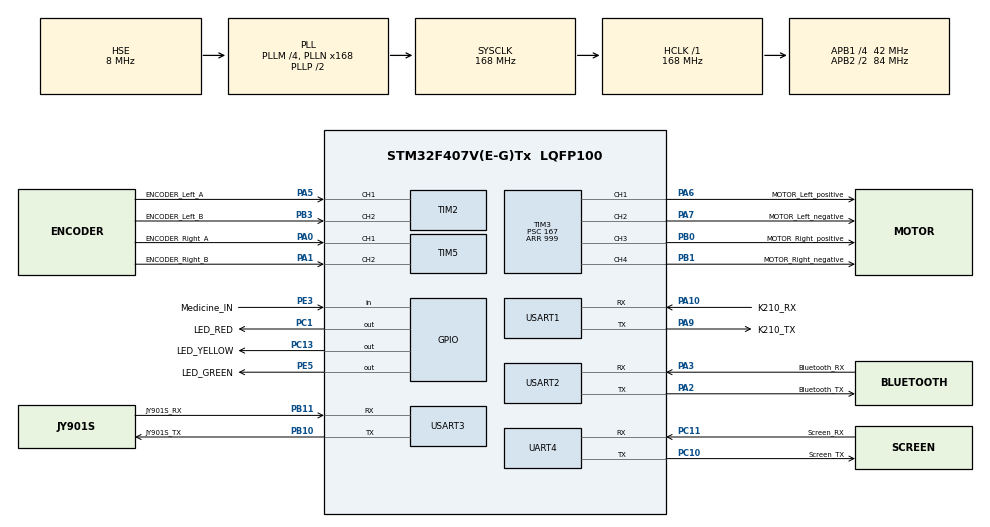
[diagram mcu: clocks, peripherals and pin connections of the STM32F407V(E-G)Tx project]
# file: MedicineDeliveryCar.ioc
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FREERTOS.Tasks01=defaultTask,0,128,StartDefaultTask,Default,NULL,Dynamic,NULL,NULL;SpeedCtrlTask,0,128,Task_SpeedCtrl,Default,NULL,Dynamic,NULL,NULL;CarGoalCtrlTask,-1,256,Task_CarGoalCtrl,Default,NULL,Dynamic,NULL,NULL
FREERTOS.configTICK_RATE_HZ=1000
Mcu.Family=STM32F4
Mcu.Name=STM32F407V(E-G)Tx
Mcu.Package=LQFP100
NVIC.PriorityGroup=NVIC_PRIORITYGROUP_4
NVIC.TIM1_UP_TIM10_IRQn=true\:15\:0\:false\:false\:true\:false\:false\:true\:true
NVIC.TIM2_IRQn=true\:5\:0\:false\:false\:true\:false\:true\:true\:true
NVIC.TIM3_IRQn=true\:5\:0\:false\:false\:true\:true\:true\:true\:true
NVIC.TIM5_IRQn=true\:5\:0\:false\:false\:true\:true\:true\:true\:true
NVIC.TimeBase=TIM1_UP_TIM10_IRQn
NVIC.TimeBaseIP=TIM1
NVIC.UART4_IRQn=true\:5\:0\:false\:false\:true\:true\:true\:true\:true
NVIC.USART1_IRQn=true\:5\:0\:false\:false\:true\:true\:true\:true\:true
NVIC.USART2_IRQn=true\:5\:0\:false\:false\:true\:true\:true\:true\:true
NVIC.USART3_IRQn=true\:5\:0\:false\:false\:true\:true\:true\:true\:true
PA0-WKUP.GPIO_Label=ENCODER_Right_A
PA0-WKUP.Signal=S_TIM5_CH1
PA1.GPIO_Label=ENCODER_Right_B
PA1.Signal=S_TIM5_CH2
PA10.GPIO_Label=K210_RX
PA10.Mode=Asynchronous
PA10.Signal=USART1_RX
PA13.Mode=Serial_Wire
PA13.Signal=SYS_JTMS-SWDIO
PA14.Mode=Serial_Wire
PA14.Signal=SYS_JTCK-SWCLK
PA2.GPIO_Label=Bluetooth_TX
PA2.Mode=Asynchronous
PA2.Signal=USART2_TX
PA3.GPIO_Label=Bluetooth_RX
PA3.Mode=Asynchronous
PA3.Signal=USART2_RX
PA5.GPIO_Label=ENCODER_Left_A
PA5.Signal=S_TIM2_CH1_ETR
PA6.GPIO_Label=MOTOR_Left_positive
PA6.Signal=S_TIM3_CH1
PA7.GPIO_Label=MOTOR_Left_negative
PA7.Signal=S_TIM3_CH2
PA9.GPIO_Label=K210_TX
PA9.Mode=Asynchronous
PA9.Signal=USART1_TX
PB0.GPIO_Label=MOTOR_Right_positive
PB0.Signal=S_TIM3_CH3
PB1.GPIO_Label=MOTOR_Right_negative
PB1.Signal=S_TIM3_CH4
PB10.GPIO_Label=JY901S_TX
PB10.Mode=Asynchronous
PB10.Signal=USART3_TX
PB11.GPIO_Label=JY901S_RX
PB11.Mode=Asynchronous
PB11.Signal=USART3_RX
PB3.GPIO_Label=ENCODER_Left_B
PB3.Signal=S_TIM2_CH2
PC1.GPIO_Label=LED_RED
PC1.Signal=GPIO_Output
PC10.GPIO_Label=Screen_TX
PC10.Mode=Asynchronous
PC10.Signal=UART4_TX
PC11.GPIO_Label=Screen_RX
PC11.Mode=Asynchronous
PC11.Signal=UART4_RX
PC13-ANTI_TAMP.GPIO_Label=LED_YELLOW
PC13-ANTI_TAMP.Signal=GPIO_Output
PE3.GPIO_Label=Medicine_IN
PE3.GPIO_PuPd=GPIO_PULLUP
PE3.Signal=GPIO_Input
PE5.GPIO_Label=LED_GREEN
PE5.Signal=GPIO_Output
PH0-OSC_IN.Mode=HSE-External-Oscillator
PH0-OSC_IN.Signal=RCC_OSC_IN
PH1-OSC_OUT.Mode=HSE-External-Oscillator
PH1-OSC_OUT.Signal=RCC_OSC_OUT
ProjectManager.HeapSize=0x200
ProjectManager.StackSize=0x400
ProjectManager.TargetToolchain=MDK-ARM V5.32
RCC.48MHZClocksFreq_Value=84000000
RCC.AHBFreq_Value=168000000
RCC.APB1CLKDivider=RCC_HCLK_DIV4
RCC.APB1Freq_Value=42000000
RCC.APB1TimFreq_Value=84000000
RCC.APB2CLKDivider=RCC_HCLK_DIV2
RCC.APB2Freq_Value=84000000
RCC.APB2TimFreq_Value=168000000
RCC.CortexFreq_Value=168000000
RCC.HCLKFreq_Value=168000000
RCC.HSE_VALUE=8000000
RCC.HSI_VALUE=16000000
RCC.LSE_VALUE=32768
RCC.PLLM=4
RCC.PLLN=168
RCC.PLLSourceVirtual=RCC_PLLSOURCE_HSE
RCC.SYSCLKFreq_VALUE=168000000
RCC.SYSCLKSource=RCC_SYSCLKSOURCE_PLLCLK
RCC.VCOOutputFreq_Value=336000000
SH.S_TIM2_CH1_ETR.0=TIM2_CH1,Encoder_Interface
SH.S_TIM2_CH2.0=TIM2_CH2,Encoder_Interface
SH.S_TIM3_CH1.0=TIM3_CH1,PWM Generation1 CH1
SH.S_TIM3_CH2.0=TIM3_CH2,PWM Generation2 CH2
SH.S_TIM3_CH3.0=TIM3_CH3,PWM Generation3 CH3
SH.S_TIM3_CH4.0=TIM3_CH4,PWM Generation4 CH4
SH.S_TIM5_CH1.0=TIM5_CH1,Encoder_Interface
SH.S_TIM5_CH2.0=TIM5_CH2,Encoder_Interface
TIM2.EncoderMode=TIM_ENCODERMODE_TI12
TIM3.AutoReloadPreload=TIM_AUTORELOAD_PRELOAD_ENABLE
TIM3.Channel-PWM\ Generation1\ CH1=TIM_CHANNEL_1
TIM3.Channel-PWM\ Generation2\ CH2=TIM_CHANNEL_2
TIM3.Channel-PWM\ Generation3\ CH3=TIM_CHANNEL_3
TIM3.Channel-PWM\ Generation4\ CH4=TIM_CHANNEL_4
TIM3.Period=999
TIM3.Prescaler=167
TIM3.Pulse-PWM\ Generation1\ CH1=500
TIM3.Pulse-PWM\ Generation3\ CH3=500
TIM5.EncoderMode=TIM_ENCODERMODE_TI12
UART4.VirtualMode=Asynchronous
USART1.VirtualMode=VM_ASYNC
USART2.VirtualMode=VM_ASYNC
USART3.VirtualMode=VM_ASYNC
VP_FREERTOS_VS_CMSIS_V1.Mode=CMSIS_V1
VP_SYS_VS_tim1.Mode=TIM1
VP_TIM3_VS_ClockSourceINT.Mode=Internal
board=custom

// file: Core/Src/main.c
/* USER CODE BEGIN Header */
/**
  ******************************************************************************
  * @file           : main.c
  * @brief          : Main program body
  ******************************************************************************
  * @attention
  *
  * Copyright (c) 2023 STMicroelectronics.
  * All rights reserved.
  *
  * This software is licensed under terms that can be found in the LICENSE file
  * in the root directory of this software component.
  * If no LICENSE file comes with this software, it is provided AS-IS.
  *
  ******************************************************************************
  */
/* USER CODE END Header */
#include "main.h"
#include "cmsis_os.h"
#include "tim.h"
#include "usart.h"
#include "gpio.h"

/* USER CODE BEGIN Includes */
//todo
#include "encoder.h"
#include "control.h"

//todo
/* USER CODE END Includes */

/* USER CODE BEGIN PD */
//todo
PID l_pid={1.0,0.1,0.0,0.0,0.0,0.0,60.0,0.0};
PID r_pid={1.0,0.1,0.0,0.0,0.0,0.0,60.0,0.0};
PID pid_line={1.0,0.1,0.0,0.0,0.0,0.0,60.0,0.0};
PID pid_distance_l={1.0,0.1,0.0,0.0,0.0,0.0,60.0,0.0};
PID pid_distance_r={1.0,0.1,0.0,0.0,0.0,0.0,60.0,0.0};

float speed_target = 0;  //28.0->0.1m/s
float speed_line_offset = 0;
int16_t deviation = 0;

//todo
/* USER CODE END PD */

void SystemClock_Config(void);
void MX_FREERTOS_Init(void);

int main(void)
{

  /* MCU Configuration--------------------------------------------------------*/

  /* Reset of all peripherals, Initializes the Flash interface and the Systick. */
  HAL_Init();

  /* Configure the system clock */
  SystemClock_Config();

  /* Initialize all configured peripherals */
  MX_GPIO_Init();
  MX_TIM3_Init();
  MX_TIM5_Init();
  MX_UART4_Init();
  MX_USART1_UART_Init();
  MX_USART2_UART_Init();
  MX_USART3_UART_Init();
  MX_TIM2_Init();
  /* USER CODE BEGIN 2 */
  //todo
  HAL_TIM_PWM_Start(&htim3,TIM_CHANNEL_1);
  HAL_TIM_PWM_Start(&htim3,TIM_CHANNEL_2);
  HAL_TIM_PWM_Start(&htim3,TIM_CHANNEL_3);
  HAL_TIM_PWM_Start(&htim3,TIM_CHANNEL_4);
	__HAL_TIM_SetCompare(&htim3, TIM_CHANNEL_1, 200);
	__HAL_TIM_SetCompare(&htim3, TIM_CHANNEL_3, 200);

  __HAL_TIM_CLEAR_IT(&htim2, TIM_IT_UPDATE);
  HAL_TIM_Encoder_Start(&htim2, TIM_CHANNEL_ALL);
  __HAL_TIM_SET_COUNTER(&htim2, ENCODER_INIT_CNT);  //0x0FFFFFFF
  __HAL_TIM_ENABLE_IT(&htim2, TIM_IT_UPDATE);
  __HAL_TIM_CLEAR_IT(&htim5, TIM_IT_UPDATE);
  HAL_TIM_Encoder_Start(&htim5, TIM_CHANNEL_ALL);
  __HAL_TIM_SET_COUNTER(&htim5, ENCODER_INIT_CNT);  //0x0FFFFFFF
  __HAL_TIM_ENABLE_IT(&htim5, TIM_IT_UPDATE);

  HAL_UART_Receive_IT(&huart1, (uint8_t *)&u1_aRxBuffer, 1);
  HAL_UART_Receive_IT(&huart2, (uint8_t *)&u2_aRxBuffer, 1);

  pid_init(&pid_line);
  pid_param_set(&pid_line, 2, 0.0, 4);
  pid_target_set(&pid_line, DEVIATION_TARGET);

  pid_init(&pid_distance_l);
  pid_param_set(&pid_distance_l, 3.0, 0, 1);

  pid_init(&pid_distance_r);
  pid_param_set(&pid_distance_r, 3.0, 0, 1);

  speed_target = 112.0;   //0m/s	//!test
  pid_init(&l_pid);
  pid_param_set(&l_pid, 4.0, 0.1, 0);
  pid_target_set(&l_pid, speed_target);

  pid_init(&r_pid);
  pid_param_set(&r_pid, 4.0, 0.1, 0);
  pid_target_set(&r_pid, speed_target);

  //!test
  delivery_flag = 2;
  // LED_GREEN_ON();
  // LED_RED_ON();
  // LED_YELLOW_ON();
  // finded_flag = 1;
  // target_num = 2;
  // spin_flag = 0;
  // left_last_dis_cnt = Left_getpos();
  // right_last_dis_cnt = Right_getpos();
  // pid_target_set(&pid_distance_l, 0.5*3.1416*180);
  // pid_target_set(&pid_distance_r, -0.5*3.1416*180);
  //speed_target = 112.0;
  //line_flag = 1;

  //todo
  /* USER CODE END 2 */

  /* Call init function for freertos objects (in freertos.c) */
  MX_FREERTOS_Init();

  /* Start scheduler */
  osKernelStart();
  /* We should never get here as control is now taken by the scheduler */
  /* Infinite loop */
  while (1)
  {

  }
}

void SystemClock_Config(void)
{
  RCC_OscInitTypeDef RCC_OscInitStruct = {0};
  RCC_ClkInitTypeDef RCC_ClkInitStruct = {0};

  /** Configure the main internal regulator output voltage
  */
  __HAL_RCC_PWR_CLK_ENABLE();
  __HAL_PWR_VOLTAGESCALING_CONFIG(PWR_REGULATOR_VOLTAGE_SCALE1);

  /** Initializes the RCC Oscillators according to the specified parameters
  * in the RCC_OscInitTypeDef structure.
  */
  RCC_OscInitStruct.OscillatorType = RCC_OSCILLATORTYPE_HSE;
  RCC_OscInitStruct.HSEState = RCC_HSE_ON;
  RCC_OscInitStruct.PLL.PLLState = RCC_PLL_ON;
  RCC_OscInitStruct.PLL.PLLSource = RCC_PLLSOURCE_HSE;
  RCC_OscInitStruct.PLL.PLLM = 4;
  RCC_OscInitStruct.PLL.PLLN = 168;
  RCC_OscInitStruct.PLL.PLLP = RCC_PLLP_DIV2;
  RCC_OscInitStruct.PLL.PLLQ = 4;
  if (HAL_RCC_OscConfig(&RCC_OscInitStruct) != HAL_OK)
  {
    Error_Handler();
  }

  /** Initializes the CPU, AHB and APB buses clocks
  */
  RCC_ClkInitStruct.ClockType = RCC_CLOCKTYPE_HCLK|RCC_CLOCKTYPE_SYSCLK
                              |RCC_CLOCKTYPE_PCLK1|RCC_CLOCKTYPE_PCLK2;
  RCC_ClkInitStruct.SYSCLKSource = RCC_SYSCLKSOURCE_PLLCLK;
  RCC_ClkInitStruct.AHBCLKDivider = RCC_SYSCLK_DIV1;
  RCC_ClkInitStruct.APB1CLKDivider = RCC_HCLK_DIV4;
  RCC_ClkInitStruct.APB2CLKDivider = RCC_HCLK_DIV2;

  if (HAL_RCC_ClockConfig(&RCC_ClkInitStruct, FLASH_LATENCY_5) != HAL_OK)
  {
    Error_Handler();
  }
}

void HAL_TIM_PeriodElapsedCallback(TIM_HandleTypeDef *htim)
{
  if (htim->Instance == TIM1) {
    HAL_IncTick();
  }
  /* USER CODE BEGIN Callback 1 */
  if (htim == (&htim2))
  {

      if(__HAL_TIM_IS_TIM_COUNTING_DOWN(&htim2)){
          left_timer_overflow--;
      }
      else left_timer_overflow++;

  }

  if (htim == (&htim5))
  {

      if(__HAL_TIM_IS_TIM_COUNTING_DOWN(&htim5)){
          right_timer_overflow--;
      }
      else right_timer_overflow++;

  }
  /* USER CODE END Callback 1 */
}

void Error_Handler(void)
{
  __disable_irq();
  while (1)
  {
  }
}

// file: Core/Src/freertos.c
/* USER CODE BEGIN Header */
/**
  ******************************************************************************
  * File Name          : freertos.c
  * Description        : Code for freertos applications
  ******************************************************************************
  * @attention
  *
  * Copyright (c) 2023 STMicroelectronics.
  * All rights reserved.
  *
  * This software is licensed under terms that can be found in the LICENSE file
  * in the root directory of this software component.
  * If no LICENSE file comes with this software, it is provided AS-IS.
  *
  ******************************************************************************
  */
/* USER CODE END Header */

#include "FreeRTOS.h"
#include "task.h"
#include "main.h"
#include "cmsis_os.h"

/* USER CODE BEGIN Includes */
//todo
#include "encoder.h"
#include "control.h"
#include "usart.h"
#include "gpio.h"

//todo
/* USER CODE END Includes */

osThreadId defaultTaskHandle;
osThreadId SpeedCtrlTaskHandle;
osThreadId CarGoalCtrlTaskHandle;

void StartDefaultTask(void const * argument);
void Task_SpeedCtrl(void const * argument);
void Task_CarGoalCtrl(void const * argument);

void MX_FREERTOS_Init(void); /* (MISRA C 2004 rule 8.1) */

/* GetIdleTaskMemory prototype (linked to static allocation support) */
void vApplicationGetIdleTaskMemory( StaticTask_t **ppxIdleTaskTCBBuffer, StackType_t **ppxIdleTaskStackBuffer, uint32_t *pulIdleTaskStackSize );

/* USER CODE BEGIN GET_IDLE_TASK_MEMORY */
static StaticTask_t xIdleTaskTCBBuffer;
static StackType_t xIdleStack[configMINIMAL_STACK_SIZE];

void vApplicationGetIdleTaskMemory( StaticTask_t **ppxIdleTaskTCBBuffer, StackType_t **ppxIdleTaskStackBuffer, uint32_t *pulIdleTaskStackSize )
{
  *ppxIdleTaskTCBBuffer = &xIdleTaskTCBBuffer;
  *ppxIdleTaskStackBuffer = &xIdleStack[0];
  *pulIdleTaskStackSize = configMINIMAL_STACK_SIZE;
  /* place for user code */
}
/* USER CODE END GET_IDLE_TASK_MEMORY */

void MX_FREERTOS_Init(void) {

  /* Create the thread(s) */
  /* definition and creation of defaultTask */
  osThreadDef(defaultTask, StartDefaultTask, osPriorityNormal, 0, 128);
  defaultTaskHandle = osThreadCreate(osThread(defaultTask), NULL);

  /* definition and creation of SpeedCtrlTask */
  osThreadDef(SpeedCtrlTask, Task_SpeedCtrl, osPriorityNormal, 0, 128);
  SpeedCtrlTaskHandle = osThreadCreate(osThread(SpeedCtrlTask), NULL);

  /* definition and creation of CarGoalCtrlTask */
  osThreadDef(CarGoalCtrlTask, Task_CarGoalCtrl, osPriorityBelowNormal, 0, 256);
  CarGoalCtrlTaskHandle = osThreadCreate(osThread(CarGoalCtrlTask), NULL);

}

void StartDefaultTask(void const * argument)
{
  for(;;)
  {
    osDelay(1);
  }
}

void Task_SpeedCtrl(void const * argument)
{
  /* USER CODE BEGIN Task_SpeedCtrl */

  /* Infinite loop */
  for(;;)
  {

    static uint32_t line_timer = 0;
    line_timer++;
    if(line_timer == 2){
      line_timer = 0;

      if(line_flag == 1)
      {
        speed_line_offset = pid_realize(&pid_line, deviation);
        pid_target_set(&l_pid, speed_target + speed_line_offset);
        pid_target_set(&r_pid, speed_target - speed_line_offset);

      }

      if(spin_flag == 1)
      {
        dis_outval_l = left_distance_control();
        dis_outval_r = right_distance_control();
        pid_target_set(&l_pid, dis_outval_l);   //set speed
        pid_target_set(&r_pid, dis_outval_r);   //set speed

        if(errfin_cnt_l_dis < POINT_FIT_TIMES || errfin_cnt_r_dis < POINT_FIT_TIMES){
            if(fabs(pid_distance_l.err) < ERR_FIT_VALUE) errfin_cnt_l_dis++;
            else errfin_cnt_l_dis /=2;
            if(fabs(pid_distance_r.err) < ERR_FIT_VALUE) errfin_cnt_r_dis++;
            else errfin_cnt_r_dis /=2;
        }
        else{
          spin_fin_flag = 1;
          errfin_cnt_l_dis = 0;
          errfin_cnt_r_dis = 0;
        }

      }

      if(dis_ctrl_flag == 1)
      {
        dis_outval_l = left_distance_control();
        dis_outval_r = right_distance_control();
        pid_target_set(&l_pid, dis_outval_l);   //set speed
        pid_target_set(&r_pid, dis_outval_l);   //set speed   //????

        if(errfin_cnt_l_dis < POINT_FIT_TIMES || errfin_cnt_r_dis < POINT_FIT_TIMES){
            if(fabs(pid_distance_l.err) < ERR_FIT_VALUE) errfin_cnt_l_dis++;
            else errfin_cnt_l_dis /=2;
            // if(fabs(pid_distance_r.err) < ERR_FIT_VALUE) errfin_cnt_r_dis++;
            // else errfin_cnt_r_dis /=2;
        }
        else{
          dis_ctrl_fin_flag = 1;
          errfin_cnt_l_dis = 0;
          errfin_cnt_r_dis = 0;
        }

      }

    }

    speed_control();

    osDelay(10);    //10ms
  }

  /* USER CODE END Task_SpeedCtrl */
}

void Task_CarGoalCtrl(void const * argument)
{
  /* USER CODE BEGIN Task_CarGoalCtrl */

  /* Infinite loop */
  for(;;)
  {

    if(delivery_flag == 0)
    {
      if(TASK == 0)
      {
        if(cur_action == 0)
        {
          if(openmv_run == 1)
          {
            HAL_UART_Transmit_IT(&huart1, get_num_cmd, sizeof(get_num_cmd));
            cur_action++;
          }
        }
        else if(cur_action == 1)
        {
          if( (finded_flag == 1) && ((Drug_ReadState() == GPIO_PIN_RESET) || slave_get_start_flag == 1) )  //****
          {
            //LED_YELLOW_OFF();         //?test
            slave_get_start_flag = 0;

            finded_flag = 0;
            speed_target = 112.0;   //0.4m/s
            line_flag = 1;
            cur_action++;
          }
        }
        else if(cur_action == 2)
        {
          if(crossing_flag == 1)
          {
            if(target_num >= 3)   //*num 3~8 area 'C'~'H'
            {
              left_last_dis_cnt = Left_getpos();
              crossing_flag = 0;
              TASK++;             //
              cur_action = 0;
            }
            else  // area 'A' or 'B'
            {
              crossing_flag = 0;    //��ʵ�ᱻ��θ�ֵΪ1��Ӧ���´�ʹ��ǰ��ֵΪ0
              line_flag = 0;
              Car_go(220);  //220mm
              cur_action++;
            }
          }
        }
        else if(cur_action == 3)
        {
          if(dis_ctrl_fin_flag == 1)
          {
            dis_ctrl_fin_flag = 0;
            dis_ctrl_flag = 0;
            if(target_num == 1){  //area 'A'
              Spin_Turn(left_90);
              fin_area = 'A';
            }
            else{                 //area 'B'
              Spin_Turn(right_90);
              fin_area = 'B';
            }
            cur_action++;
          }

        }
        else if(cur_action == 4)
        {
          if(spin_fin_flag == 1)
          {
            spin_fin_flag = 0;
            spin_flag = 0;
            pid_target_set(&l_pid, speed_target);
            pid_target_set(&r_pid, speed_target);
            line_flag = 1;
            cur_action++;
          }
        }
        else if(cur_action == 5)
        {
          if(stop_flag == 1)
          {
            stop_flag = 0;
            line_flag = 0;
            Car_go(150);  //150mm
            cur_action++;
          }
        }
        else if(cur_action == 6)
        {
          if(dis_ctrl_fin_flag == 1)
          {
            dis_ctrl_fin_flag = 0;
            dis_ctrl_flag = 0;
            LED_RED_ON();   //LED_red on
            pid_target_set(&l_pid, 0);
            pid_target_set(&r_pid, 0);

            delivery_flag = 1;
            TASK = 0;
            cur_action = 0;
          }
        }

      }//TASK == 0  area 'A'&'B'

      else if(TASK == 1)  //num 3~8 area 'C'~'H'
      {
        if(cur_action == 0)
        {
          if(crossing_flag == 1 && (int)(Left_getpos() - left_last_dis_cnt)*213.63/4/390 > 280) //
          {
              crossing_flag = 0;
              line_flag = 0;
              Car_go(20);  //20mm
              HAL_UART_Transmit_IT(&huart1, get_dir_cmd, sizeof(get_dir_cmd));
              cur_action++;
          }
        }
        else if(cur_action == 1)
        {
          if(dis_ctrl_fin_flag == 1)
          {
            dis_ctrl_fin_flag = 0;
            dis_ctrl_flag = 0;
            pid_target_set(&l_pid, 0);
            pid_target_set(&r_pid, 0);
            cur_action++;
          }
        }
        else if(cur_action == 2)
        {
          if(finded_flag == 1)
          {
            finded_flag = 0;
            if(LoR == 0){   //*ֱ��  area 'E'~'H' ����ȥ��ͣ��

              Car_go(260);  //260mm
              cur_action = 150; //*
            }
            else{
              Car_go(260);  //260mm
              cur_action++;
            }
          }
        }
        else if(cur_action == 150)  //ȥԶ��ǰ��ȥ��ͣ��
        {
          if(dis_ctrl_fin_flag == 1)
          {
            dis_ctrl_fin_flag = 0;
            dis_ctrl_flag = 0;
            Spin_Turn(right_90);
            cur_action++;
          }
        }
        else if(cur_action == 151)
        {
          if(spin_fin_flag == 1)
          {
            spin_fin_flag = 0;
            spin_flag = 0;
            pid_target_set(&l_pid, speed_target);
            pid_target_set(&r_pid, speed_target);
            line_flag = 1;
            cur_action++;
          }
        }
        else if(cur_action == 152)
        {
          if(stop_flag == 1)  //׼��ֹͣ����ͣ���ٵ�Զ�˲���
          {
            stop_flag = 0;
            line_flag = 0;
            Car_go(180);  //180mm
            cur_action++;
          }
        }
        else if(cur_action == 153)
        {
          if(dis_ctrl_fin_flag == 1)
          {
            dis_ctrl_fin_flag = 0;
            dis_ctrl_flag = 0;
            pid_target_set(&l_pid, 0);
            pid_target_set(&r_pid, 0);
            cur_action++;
          }
        }
        else if(cur_action == 154)
        {
          if(slave_restart2far_flag == 1)
          {
            slave_restart2far_flag = 0;
            Spin_Turn(back_180);
            cur_action++;
          }
        }
        else if(cur_action == 155)
        {
          if(spin_fin_flag == 1)
          {
            spin_fin_flag = 0;
            spin_flag = 0;
            pid_target_set(&l_pid, speed_target);
            pid_target_set(&r_pid, speed_target);
            line_flag = 1;
            cur_action++;
          }
        }
        else if(cur_action == 156)
        {
          if(crossing_flag == 1) //
          {
              crossing_flag = 0;
              line_flag = 0;
              Car_go(270);  //270mm
              cur_action++;
          }
        }
        else if(cur_action == 157)
        {
          if(dis_ctrl_fin_flag == 1)
          {
            dis_ctrl_fin_flag = 0;
            dis_ctrl_flag = 0;
            Spin_Turn(right_90);
            cur_action++;
          }
        }
        else if(cur_action == 158)
        {
          if(spin_fin_flag == 1)
          {
            spin_fin_flag = 0;
            spin_flag = 0;

            left_last_dis_cnt = Left_getpos();
            pid_target_set(&l_pid, speed_target);
            pid_target_set(&r_pid, speed_target);
            line_flag = 1;
            TASK++;   //*
            cur_action = 0;
          }
        }
        else if(cur_action == 3)
        {
          if(dis_ctrl_fin_flag == 1)
          {
            dis_ctrl_fin_flag = 0;
            dis_ctrl_flag = 0;
            if(LoR == -1){  //area 'C' ����ȥ'D'
              Spin_Turn(right_90);
              fin_area = 'C';
            }
            else{                 //area 'D' ����ȥ'C'
              Spin_Turn(left_90);
              fin_area = 'D';
            }
            cur_action++;
          }
        }
        else if(cur_action == 4)
        {
          if(spin_fin_flag == 1)
          {
            spin_fin_flag = 0;
            spin_flag = 0;
            pid_target_set(&l_pid, speed_target);
            pid_target_set(&r_pid, speed_target);
            line_flag = 1;
            cur_action++;
          }
        }
        else if(cur_action == 5)
        {
          if(stop_flag == 1)  //׼��ֹͣ����ͣ��
          {
            stop_flag = 0;
            line_flag = 0;
            Car_go(180);  //180mm
            cur_action = 100;   //*
          }
        }
        else if(cur_action == 100)  //ȥĿ���ж˲���ǰ������ͣ����ͣ
        {
          if(dis_ctrl_fin_flag == 1)
          {
            dis_ctrl_fin_flag = 0;
            dis_ctrl_flag = 0;
            LED_YELLOW_ON();   //LED_yellow on
            pid_target_set(&l_pid, 0);
            pid_target_set(&r_pid, 0);
            cur_action++;
          }
        }
        else if(cur_action == 101)
        {
          if(slave_mid_start_flag == 1)
          {
            slave_mid_start_flag = 0;
            Spin_Turn(back_180);
            cur_action++;
          }
        }
        else if(cur_action == 102)
        {
          if(spin_fin_flag == 1)
          {
            spin_fin_flag = 0;
            spin_flag = 0;
            pid_target_set(&l_pid, speed_target);
            pid_target_set(&r_pid, speed_target);
            line_flag = 1;
            cur_action++;
          }
        }
        else if(cur_action == 103)
        {
          if(stop_flag == 1)  //׼��ֹͣ����������
          {
            stop_flag = 0;
            line_flag = 0;
            Car_go(180);  //180mm
            cur_action = 6;   //*
          }
        }
        else if(cur_action == 6)
        {
          if(dis_ctrl_fin_flag == 1)
          {
            dis_ctrl_fin_flag = 0;
            dis_ctrl_flag = 0;
            LED_RED_ON();   //LED_red on
            pid_target_set(&l_pid, 0);
            pid_target_set(&r_pid, 0);

            delivery_flag = 1;
            TASK = 0;
            cur_action = 0;
          }
        }

      }//TASK == 1  --area 'C'&'D'

      else if(TASK == 2)  //area 'E'~'H'
      {
        if(cur_action == 0)
        {
          if(crossing_flag == 1 && (int)(Left_getpos() - left_last_dis_cnt)*213.63/4/390 > 200) //
          {
            crossing_flag = 0;
            line_flag = 0;
            Car_go(100);  //100mm
            cur_action++;
          }
        }
        else if(cur_action == 1)
        {
          if(dis_ctrl_fin_flag == 1)
          {
            dis_ctrl_fin_flag = 0;
            dis_ctrl_flag = 0;
            Spin_Turn(left_30);
            cur_action++;
          }
        }
        else if(cur_action == 2)
        {
          if(spin_fin_flag == 1)
          {
            spin_fin_flag = 0;
            spin_flag = 0;
            pid_target_set(&l_pid, 0);
            pid_target_set(&r_pid, 0);
            //HAL_UART_Transmit_IT(&huart1, get_four_dir_cmd, sizeof(get_four_dir_cmd));
            cur_action++;
            //!test
            finded_flag = 1;
            LoR = -1;
          }

        }
        else if(cur_action == 3)
        {
          if(finded_flag == 1)
          {
            finded_flag = 0;
            Spin_Turn(right_30);
            cur_action++;
          }
        }
        // else if(cur_action == 4)
        // {
        //   if(spin_fin_flag == 1)
        //   {
        //     spin_fin_flag = 0;
        //     spin_flag = 0;
        //     pid_target_set(&l_pid, 0);
        //     pid_target_set(&r_pid, 0);
        //     HAL_UART_Transmit_IT(&huart1, get_dir_cmd, sizeof(get_dir_cmd));
        //     cur_action++;
        //   }
        // }
        // else if(cur_action == 5)
        // {
        //   if(finded_flag == 1)
        //   {
        //     finded_flag = 0;
        //     Spin_Turn(left_30);
        //     cur_action++;
        //   }
        // }
        else if(cur_action == 4)
        {
          if(spin_fin_flag == 1)
          {
            spin_fin_flag = 0;
            spin_flag = 0;
            Car_go(220);  //220mm
            cur_action++;
          }
        }
        else if(cur_action == 5)
        {
          if(dis_ctrl_fin_flag == 1)
          {
            dis_ctrl_fin_flag = 0;
            dis_ctrl_flag = 0;
            if(LoR == -1){  //area 'E'&'G'
              Spin_Turn(left_90);
              last_LoR = -1;
            }
            else{                 //area 'F'&'H'
              Spin_Turn(right_90);
              last_LoR = 1;
            }
            cur_action++;
          }
        }
        else if(cur_action == 6)
        {
          if(spin_fin_flag == 1)
          {
            spin_fin_flag = 0;
            spin_flag = 0;
            pid_target_set(&l_pid, speed_target);
            pid_target_set(&r_pid, speed_target);
            line_flag = 1;
            cur_action++;
          }
        }
        else if(cur_action == 7)
        {
          if(crossing_flag == 1)
          {
            crossing_flag = 0;
            line_flag = 0;
            Car_go(10);  //10mm
            HAL_UART_Transmit_IT(&huart1, get_dir_cmd, sizeof(get_dir_cmd));
            cur_action++;
          }
        }
        else if(cur_action == 8)
        {
          if(dis_ctrl_fin_flag == 1)
          {
            dis_ctrl_fin_flag = 0;
            dis_ctrl_flag = 0;
            pid_target_set(&l_pid, 0);
            pid_target_set(&r_pid, 0);
            cur_action++;
          }
        }
        else if(cur_action == 9)
        {
          if(finded_flag == 1)
          {
            finded_flag = 0;
            Car_go(260);  //260mm
            cur_action++;
          }
        }
        else if(cur_action == 10)
        {
          if(dis_ctrl_fin_flag == 1)
          {
            dis_ctrl_fin_flag = 0;
            dis_ctrl_flag = 0;
            if(LoR == -1){  //area 'E'&'H'
              Spin_Turn(left_90);
              if(last_LoR == -1) fin_area = 'E';
              else fin_area = 'H';
              cur_action++;

            }
            else if(LoR == 1){                 //area 'F'&'G'
              Spin_Turn(right_90);
              if(last_LoR == -1) fin_area = 'G';
              else fin_area = 'F';
              cur_action++;
            }
            else{         //ǰ���жϴ���
              Spin_Turn(back_180);
              cur_action = 200;
            }
          }
        }
        else if(cur_action == 200)
        {
          if(spin_fin_flag == 1)
          {
            spin_fin_flag = 0;
            spin_flag = 0;
            pid_target_set(&l_pid, speed_target);
            pid_target_set(&r_pid, speed_target);
            line_flag = 1;
            left_last_dis_cnt = Left_getpos();
            cur_action++;
          }
        }
        else if(cur_action == 201)
        {
          if(crossing_flag == 1 && (int)(Left_getpos() - left_last_dis_cnt)*213.63/4/390 > 1000) //
          {
            crossing_flag = 0;
            line_flag = 0;
            Car_go(20);  //20mm
            HAL_UART_Transmit_IT(&huart1, get_dir_cmd, sizeof(get_dir_cmd));
            cur_action = 8;     //*
          }

        }
        else if(cur_action == 11)
        {
          if(spin_fin_flag == 1)
          {
            spin_fin_flag = 0;
            spin_flag = 0;
            pid_target_set(&l_pid, speed_target);
            pid_target_set(&r_pid, speed_target);
            line_flag = 1;
            cur_action++;
          }
        }
        else if(cur_action == 12)
        {
          if(stop_flag == 1)
          {
            stop_flag = 0;
            line_flag = 0;
            Car_go(180);  //180mm
            cur_action++;
          }
        }
        else if(cur_action == 13)
        {
          if(dis_ctrl_fin_flag == 1)
          {
            dis_ctrl_fin_flag = 0;
            dis_ctrl_flag = 0;
            LED_RED_ON();   //LED_red on
            pid_target_set(&l_pid, 0);
            pid_target_set(&r_pid, 0);

            delivery_flag = 1;
            TASK = 0;
            cur_action = 0;
          }
        }

      }//TASK == 2  --area 'E'~'H'

    }//delivery_flag == 0

    else if(delivery_flag == 1) //Go Back
    {
      if(TASK == 0)
      {
        if(cur_action == 0)
        {
          if((Drug_ReadState() == GPIO_PIN_SET && fin_area <= 'D')||(Drug_ReadState() == GPIO_PIN_RESET && fin_area >= 'E'))  //ҩƷ�����߻����
          {
            LED_RED_OFF();
            Spin_Turn(back_180);
            cur_action++;
          }
        }
        else if(cur_action == 1)
        {
          if(spin_fin_flag == 1)
          {
            spin_fin_flag = 0;
            spin_flag = 0;
            pid_target_set(&l_pid, speed_target);
            pid_target_set(&r_pid, speed_target);
            line_flag = 1;
            cur_action++;
          }
        }
        else if(cur_action == 2)
        {
          if(crossing_flag == 1)
          {
            crossing_flag = 0;    //
            line_flag = 0;
            Car_go(220);  //220mm
            cur_action++;
          }
        }
        else if(cur_action == 3)
        {
          if(dis_ctrl_fin_flag == 1)
          {
            dis_ctrl_fin_flag = 0;
            dis_ctrl_flag = 0;
            if(fin_area == 'A' || fin_area == 'C' || fin_area == 'E' || fin_area == 'H')  //����ת������
            {
              Spin_Turn(right_90);
            }
            else{                 //����ת������
              Spin_Turn(left_90);
            }
            cur_action++;
          }
        }
        else if(cur_action == 4)
        {
          if(spin_fin_flag == 1)
          {
            spin_fin_flag = 0;
            spin_flag = 0;
            pid_target_set(&l_pid, speed_target);
            pid_target_set(&r_pid, speed_target);
            line_flag = 1;
            if(fin_area >= 'A' && fin_area <= 'D'){   //ֱ��Ѳ�ߵ��յ�
              TASK++;
              cur_action = 0;
            }
            else cur_action++;
          }
        }
        else if(cur_action == 5)
        {
          if(crossing_flag == 1)
          {
            crossing_flag = 0;    //
            line_flag = 0;
            Car_go(270);  //270mm
            cur_action++;
          }
        }
        else if(cur_action == 6)
        {
          if(dis_ctrl_fin_flag == 1)
          {
            dis_ctrl_fin_flag = 0;
            dis_ctrl_flag = 0;
            if(fin_area == 'E' || fin_area == 'G')   //����ת������
            {
              Spin_Turn(right_90);
            }
            else
            {
              Spin_Turn(left_90);
            }
            cur_action++;
          }
        }
        else if(cur_action == 7)
        {
          if(spin_fin_flag == 1)
          {
            spin_fin_flag = 0;
            spin_flag = 0;
            pid_target_set(&l_pid, speed_target);
            pid_target_set(&r_pid, speed_target);
            line_flag = 1;        //Ѳ�ߵ��յ�
            TASK++;
            cur_action = 0;
          }

        }

      }//TASK == 0
      else if(TASK == 1)  //Ѳ�ߵ��յ�
      {
        if(cur_action == 0)
        {
          if(stop_flag == 1)
          {
            stop_flag = 0;
            line_flag = 0;
            Car_go(180);  //180mm
            cur_action++;
          }
        }
        else if(cur_action == 1)
        {
          if(dis_ctrl_fin_flag == 1)
          {
            dis_ctrl_fin_flag = 0;
            dis_ctrl_flag = 0;
            LED_GREEN_ON();   //LED_green on
            pid_target_set(&l_pid, 0);          //ֹͣ
            pid_target_set(&r_pid, 0);
          }
        }
      }

    }//delivery_flag == 1

    osDelay(1);     //1ms
  }
  /* USER CODE END Task_CarGoalCtrl */

}
